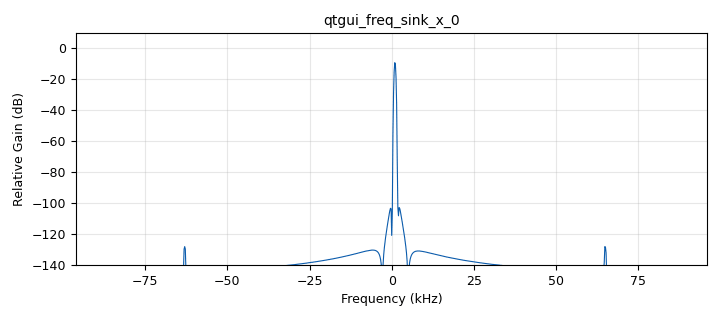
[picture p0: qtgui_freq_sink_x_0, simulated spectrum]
options:
  parameters:
    generate_options: qt_gui
    id: cos_sig
    output_language: python
    title: Not titled yet
  states: {}

blocks:
- name: samp_rate
  id: variable
  parameters:
    value: '192000'
  states: {}
- name: analog_sig_source_x_0
  id: analog_sig_source_x
  parameters:
    amp: '1'
    freq: '1000'
    offset: '0'
    phase: '0'
    samp_rate: samp_rate
    type: complex
    waveform: analog.GR_COS_WAVE
  states: {}
- name: audio_sink_0
  id: audio_sink
  parameters:
    num_inputs: '2'
    samp_rate: samp_rate
  states: {}
- name: blocks_complex_to_float_0
  id: blocks_complex_to_float
  parameters: {}
  states: {}
- name: qtgui_freq_sink_x_0
  id: qtgui_freq_sink_x
  parameters:
    bw: samp_rate
    fc: '0'
    fftsize: '1024'
    type: complex
  states: {}

connections:
- [analog_sig_source_x_0, '0', blocks_complex_to_float_0, '0']
- [analog_sig_source_x_0, '0', qtgui_freq_sink_x_0, '0']
- [blocks_complex_to_float_0, '0', audio_sink_0, '0']
- [blocks_complex_to_float_0, '1', audio_sink_0, '1']

metadata:
  file_format: 1
  grc_version: 3.10.8.0
